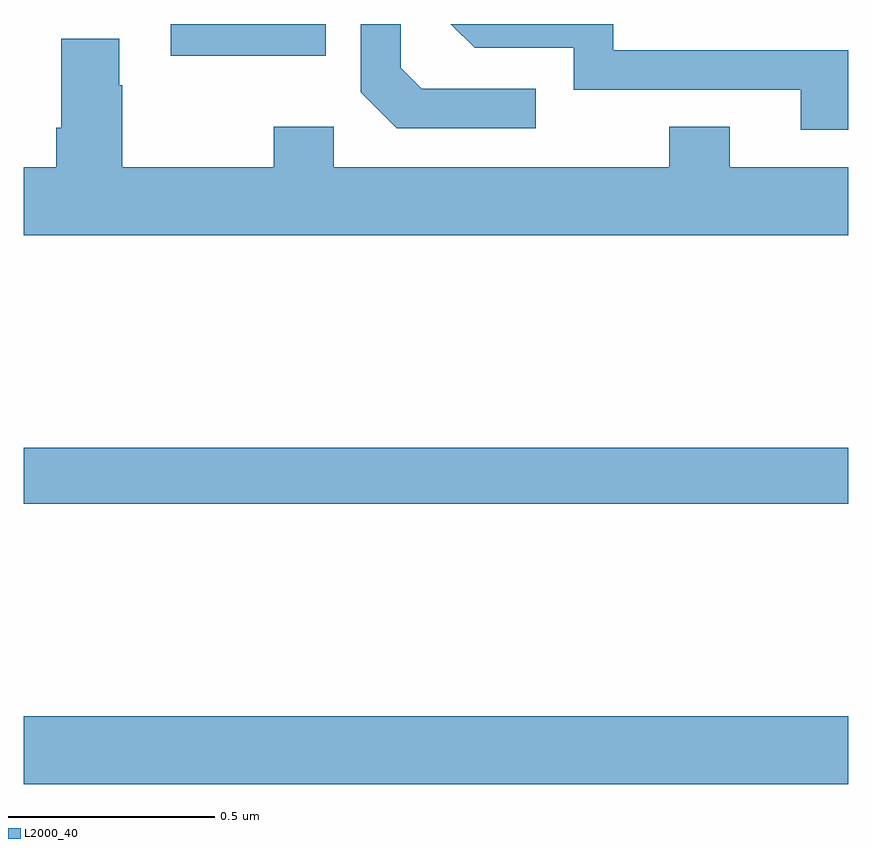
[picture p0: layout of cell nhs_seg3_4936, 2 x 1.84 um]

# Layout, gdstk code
import gdstk
lib = gdstk.Library(unit=1e-6, precision=1e-09)
def R(c, l, rs):  # rectangles x0, y0, x1, y1
    for r in rs: c.add(gdstk.rectangle(r[:2], r[2:], *l))
def P(c, l, *ps):  # polygons
    for p in ps: c.add(gdstk.Polygon(p, *l))
L2000_40 = (2000, 40)

nhs_seg3_4936 = lib.new_cell('nhs_seg3_4936')
R(nhs_seg3_4936, L2000_40, [(172,727.556,174,727.72), (172,728.236,174,728.372), (172.356,729.323,172.733,729.4)])
P(nhs_seg3_4936, L2000_40, [(174,729.336),(173.43,729.336),(173.43,729.4),(173.036,729.4),(173.094,729.342),(173.334,729.342),(173.334,729.24),(173.885,729.24),(173.885,729.144),(174,729.144)],
  [(173.242,729.243),(172.965,729.243),(172.914,729.294),(172.914,729.4),(172.818,729.4),(172.818,729.234),(172.905,729.147),(173.242,729.147)],
  [(174,729.052),(173.713,729.052),(173.713,729.151),(173.566,729.151),(173.566,729.052),(172.752,729.052),(172.752,729.151),(172.606,729.151),(172.606,729.052),(172.239,729.052),(172.239,729.251),(172.231,729.251),(172.231,729.364),(172.091,729.364),(172.091,729.148),(172.079,729.148),(172.079,729.052),(172,729.052),(172,728.888),(174,728.888)])

lib.write_gds('nhs_seg3_4936.gds')
